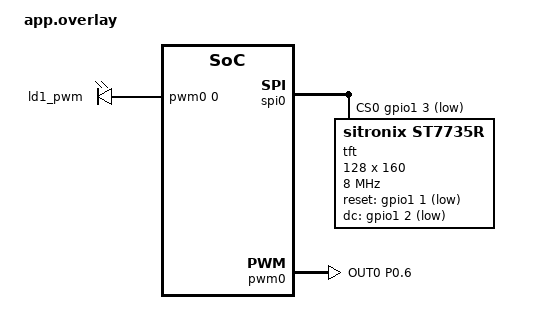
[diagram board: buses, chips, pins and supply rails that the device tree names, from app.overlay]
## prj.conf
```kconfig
#####################################
# prj.conf — Up to 11×Tx → 1×Rx (USB-CDC, Central-only)
#####################################

# ── Console 全关（USB CDC 只当“数据口”，不当 console） ──
CONFIG_SERIAL=y
CONFIG_CONSOLE=n
CONFIG_UART_CONSOLE=n
CONFIG_RTT_CONSOLE=n
CONFIG_BOOT_BANNER=n
CONFIG_SHELL=n
CONFIG_PRINTK=n

# ── USB CDC（非 console，用作数据输出到 PC） ────────────
CONFIG_USB_DEVICE_STACK=y
CONFIG_USB_DEVICE_INITIALIZE_AT_BOOT=y
CONFIG_USB_CDC_ACM=y
CONFIG_UART_LINE_CTRL=y

CONFIG_USB_DEVICE_PRODUCT="Dongle BioSpur"
CONFIG_USB_DEVICE_MANUFACTURER="BioSpur"
CONFIG_USB_DEVICE_VID=0x1915
CONFIG_USB_DEVICE_PID=0x520F

# ── 蓝牙基础配置（Central-only，多连接 NUS 客户端） ────────
CONFIG_BT=y
CONFIG_BT_CENTRAL=y
CONFIG_BT_PERIPHERAL=n

# ★ 安全 / 配对（普通加密，无强制 MITM）★
CONFIG_BT_SMP=y
CONFIG_BT_BONDABLE=n
CONFIG_BT_SIGNING=n
CONFIG_BT_PRIVACY=n

# Settings，用来存 bond / 白名单
CONFIG_SETTINGS=y
CONFIG_BT_SETTINGS=y
CONFIG_FLASH=y
CONFIG_FLASH_PAGE_LAYOUT=y
CONFIG_FLASH_MAP=y

# Settings storage backend
CONFIG_NVS=y
CONFIG_SETTINGS_NVS=y

# ── NUS 客户端（Central 读 TX 的 NUS）─────────────────────
CONFIG_BT_NUS_CLIENT=y
CONFIG_BT_NUS=n

CONFIG_BT_SCAN=y
CONFIG_BT_GATT_CLIENT=y
CONFIG_BT_GATT_SERVICE_CHANGED=y
CONFIG_BT_GATT_DM=y

CONFIG_BT_DEVICE_NAME="BioSpur_Central_2"

CONFIG_BT_PHY_UPDATE=y
CONFIG_BT_CTLR_PHY_2M=y
CONFIG_BT_USER_PHY_UPDATE=y

# ── 连接与缓冲区配置（多连接 + 高吞吐） ──────────────────
CONFIG_BT_MAX_CONN=15
CONFIG_BT_MAX_PAIRED=15

CONFIG_BT_L2CAP_TX_MTU=247
CONFIG_BT_BUF_ACL_TX_SIZE=251
CONFIG_BT_BUF_ACL_RX_SIZE=251

CONFIG_BT_L2CAP_TX_BUF_COUNT=48
CONFIG_BT_BUF_ACL_TX_COUNT=48
CONFIG_BT_BUF_ACL_RX_COUNT=48

CONFIG_BT_BUF_CMD_TX_COUNT=10
CONFIG_BT_BUF_EVT_RX_SIZE=255
CONFIG_BT_BUF_EVT_RX_COUNT=16

# 扫描过滤
CONFIG_BT_SCAN_FILTER_ENABLE=y

# ── 控制器配置（Zephyr Controller） ───────────────────────
CONFIG_BT_LL_SOFTDEVICE=n
CONFIG_BT_CTLR=y

# ── 强制 GATT 需要加密 / 订阅 ─────────────────────────────
CONFIG_BT_GATT_ENFORCE_SUBSCRIPTION=y

# ── 线程栈 / heap ───────────────────────────────────────
CONFIG_MAIN_STACK_SIZE=3072
CONFIG_SYSTEM_WORKQUEUE_STACK_SIZE=6144
CONFIG_HEAP_MEM_POOL_SIZE=65536

# ── Peripherals ─────────────────────────────────────────
CONFIG_GPIO=y
CONFIG_PWM=y
CONFIG_PINCTRL=y
CONFIG_DK_LIBRARY=y
CONFIG_NRFX_UARTE0=n

# ── 日志系统（RTT 后端；CDC 只作数据口） ────────────────
CONFIG_LOG=y
CONFIG_LOG_MODE_DEFERRED=y
CONFIG_LOG_PROCESS_THREAD=y
CONFIG_LOG_PROCESS_THREAD_STACK_SIZE=2048
CONFIG_LOG_DEFAULT_LEVEL=3

CONFIG_USE_SEGGER_RTT=y
CONFIG_LOG_BACKEND_RTT=y
CONFIG_SEGGER_RTT_BUFFER_SIZE_UP=8192
CONFIG_SEGGER_RTT_BUFFER_SIZE_DOWN=64

CONFIG_LOG_BACKEND_UART=n

# ── Reboot（如果 app_cmd.c 用到了 sys_reboot） ───────────
CONFIG_REBOOT=y
```

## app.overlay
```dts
#include <zephyr/dt-bindings/pwm/pwm.h>
#include <zephyr/dt-bindings/pinctrl/nrf-pinctrl.h>

/*
 * Copyright (c) 2023 Nordic Semiconductor ASA
 *
 * SPDX-License-Identifier: LicenseRef-Nordic-5-Clause
 */

/ {
	 chosen {
		 nordic,nus-uart = &uart0;
		 zephyr,display = &tft;
	 };
};


/* ---------- SPI0 ---------- */
&spi0 {
    status = "okay";

    /* 使用 SoC 默认 pinctrl（P0.00 / 0.01 为 SCK / MOSI） */
    pinctrl-0 = <&spi0_default>;
    pinctrl-1 = <&spi0_sleep>;
    pinctrl-names = "default", "sleep";

    /* 片选线改到 P1.03 */
    cs-gpios = <&gpio1 3 GPIO_ACTIVE_LOW>;

    /* TFT 设备节点 */
    tft: st7735r@0 {                 /* 如实际芯片是 ST7789V，可改 compatible */
        compatible = "sitronix,st7735r";
        reg = <0>;
        spi-max-frequency = <8000000>;   /* 8 MHz */

        reset-gpios = <&gpio1 1 GPIO_ACTIVE_LOW>; /* RES=P1.01 */
        dc-gpios    = <&gpio1 2 GPIO_ACTIVE_LOW>; /* RS (DC)=P1.02 */

        width  = <128>;
        height = <160>;
        rgb-order = "rgb565";
    };
};


/* ---------- PWM for LD1 breathing ---------- */
&pinctrl {
    pwm0_default: pwm0_default {
        group1 {
            psels = <NRF_PSEL(PWM_OUT0, 0, 6)>; /* P0.06 (LD1) */
        };
    };

    pwm0_sleep: pwm0_sleep {
        group1 {
            psels = <NRF_PSEL(PWM_OUT0, 0, 6)>;
            low-power-enable;
        };
    };
};

&pwm0 {
    status = "okay";
    pinctrl-0 = <&pwm0_default>;
    pinctrl-1 = <&pwm0_sleep>;
    pinctrl-names = "default", "sleep";
};

/ {
    pwmleds {
        compatible = "pwm-leds";
        ld1_pwm: ld1_pwm {
            pwms = <&pwm0 0 PWM_MSEC(10) PWM_POLARITY_INVERTED>;
        };
    };

    aliases {
        pwm-led0 = &ld1_pwm;
    };
};
```

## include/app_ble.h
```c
#ifndef APP_BLE_H
#define APP_BLE_H

#include <zephyr/kernel.h>
#include <stdint.h>
#include <stdbool.h>

/* Initialize Bluetooth central + NUS clients + bt_scan. */
int app_ble_init(void);

/* Start/stop scanning for TX devices ("eFxxxx" names). */
int app_ble_start_scan(void);
int app_ble_stop_scan(void);

/* Use cached candidates (from last scan) to connect.
 * Connections are created sequentially; GATT discovery for NUS is
 * internally serialized to avoid -EALREADY issues.
 */
int app_ble_connect_whitelist(void);

/* Disconnect all active connections. */
void app_ble_disconnect_all(void);

/* Return number of active connections. */
int app_ble_get_conn_count(void);

/* UWB/IMU control commands over NUS (TSYNC / RSLOT). */
void app_ble_tsync_all(uint64_t host_ms);
void app_ble_rslot(int slot, uint16_t fps, uint16_t phase_ms);

#endif /* APP_BLE_H */
```

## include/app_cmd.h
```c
#ifndef APP_CMD_H
#define APP_CMD_H

#include <stdint.h>
#include <stdbool.h>

/* 启动 CDC 命令解析线程（scan / conn / reboot / TSYNC / RSLOT ...） */
int app_cmd_init(void);


typedef enum {
    APP_UI_STATE_IDLE = 0,
    APP_UI_STATE_SCAN,
    APP_UI_STATE_CONN,
    APP_UI_STATE_START,
} app_ui_state_t;

/* UI indicator hook for command-driven state changes */
void app_ui_set_state(app_ui_state_t state);

/* 来自各个 TX 节点的 NUS 数据（已经按 dev_id 区分）。*/
void app_cmd_on_nus_rx(uint16_t dev_id, const uint8_t *data, uint16_t len);

/* 扫描时发现/更新设备，用于在 USB CDC 上打印扫描列表。*/
void app_cmd_scan_update(uint16_t dev_id,
                         uint8_t filterindex,
                         const char *name,
                         int8_t rssi,
                         bool is_new);

#endif /* APP_CMD_H */
```

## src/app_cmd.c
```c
#include <zephyr/kernel.h>
#include <zephyr/sys/reboot.h>
#include <string.h>
#include <stdio.h>
#include <ctype.h>

#include "cdc_async.h"
#include "app_ble.h"
#include "app_cmd.h"


static void ui_set_state(app_ui_state_t state)
{
    app_ui_set_state(state);
}

K_THREAD_STACK_DEFINE(app_cmd_stack, 1024);
static struct k_thread app_cmd_thread;

/* ========== 小工具：忽略前导空格 + 不区分大小写匹配命令字 ========== */

static const char *skip_spaces(const char *s)
{
    while (*s == ' ' || *s == '\t') {
        s++;
    }
    return s;
}

/* 判断 cmd 是否以 word 开头（大小写不敏感），并且后面是空格或结束
 * 例如：
 *   cmd = "  TSYNC 123", word="tsync" → true，返回 true
 *   cmd = "TSYNCHHH",   word="tsync" → false
 */
static bool cmd_starts_with_word(const char *cmd, const char *word)
{
    cmd = skip_spaces(cmd);

    while (*word) {
        char c1 = *cmd;
        char c2 = *word;

        if (c1 == '\0') {
            return false;
        }
        /* 转小写比较 */
        if (tolower((unsigned char)c1) != tolower((unsigned char)c2)) {
            return false;
        }
        cmd++;
        word++;
    }

    /* word 比完了，cmd 当前字符必须是空白或 '\0' 才算匹配完整单词 */
    if (*cmd == '\0' || *cmd == ' ' || *cmd == '\t') {
        return true;
    }
    return false;
}

/* 从一行命令中取出命令字后面的“尾部参数串”，自动跳过命令自身和后面的空格。
 * 例如：
 *   line = "  TSYNC  12345"
 *   word = "tsync"
 *   返回指向 "12345"
 */
static const char *get_args_after_word(const char *line, const char *word)
{
    line = skip_spaces(line);

    /* 先跳过命令字本身 */
    while (*word && *line) {
        line++;
        word++;
    }

    /* 再跳过紧跟着的空格 */
    return skip_spaces(line);
}

/* ========== 命令处理 ========== */

static void handle_cmd(const char *cmd_in)
{
    const char *cmd = skip_spaces(cmd_in);

    if (*cmd == '\0') {
        return;
    }

    /* ---- scan ---- */
    if (cmd_starts_with_word(cmd, "scan")) {
        cdc_printf("CMD: scan\r\n");
        app_ble_start_scan();
        ui_set_state(APP_UI_STATE_SCAN);
        return;
    }

    /* ---- conn ---- */
    if (cmd_starts_with_word(cmd, "conn")) {
        cdc_printf("CMD: conn\r\n");
        app_ble_connect_whitelist();
        ui_set_state(APP_UI_STATE_CONN);
        return;
    }

    /* ---- reboot ---- */
    if (cmd_starts_with_word(cmd, "reboot")) {
        cdc_printf("CMD: reboot -> sys_reboot\r\n");
        sys_reboot(SYS_REBOOT_COLD);
        return;
    }

    /* ---- stream_on / stream_off ---- */
    if (cmd_starts_with_word(cmd, "stream_on")) {
        cdc_printf("CMD: stream_on\r\n");
        cdc_async_enable(true);
        ui_set_state(APP_UI_STATE_START);
        return;
    }

    if (cmd_starts_with_word(cmd, "stream_off")) {
        cdc_printf("CMD: stream_off\r\n");
        cdc_async_enable(false);
        ui_set_state(app_ble_get_conn_count() > 0 ? APP_UI_STATE_CONN : APP_UI_STATE_SCAN);
        return;
    }

    /* ---- disc / disconnect ---- */
    if (cmd_starts_with_word(cmd, "disc") ||
        cmd_starts_with_word(cmd, "disconnect")) {
        cdc_printf("CMD: disconnect all\r\n");
        app_ble_disconnect_all();
        ui_set_state(APP_UI_STATE_SCAN);
        return;
    }

    /* ---- TSYNC / tsync ----
     *
     * 支持两种用法：
     *   tsync            -> 用 RX 的 k_uptime_get() 做 host_ms
     *   tsync <host_ms>  -> 用 PC 传过来的 host_ms（你现在用的）
     */
    if (cmd_starts_with_word(cmd, "tsync")) {
        const char *args = get_args_after_word(cmd, "tsync");
        uint64_t host_ms = 0;

        if (*args == '\0') {
            /* 无参数：用 RX 自己的 uptime 作 host_ms */
            host_ms = (uint64_t)k_uptime_get();
            cdc_printf("CMD: TSYNC with local uptime=%llu ms\r\n",
                       (unsigned long long)host_ms);
        } else {
            /* 有参数：解析十进制 host_ms */
            unsigned long long tmp = 0ULL;
            int n = sscanf(args, "%llu", &tmp);
            if (n != 1) {
                cdc_printf("CMD TSYNC parse error. Usage:\r\n");
                cdc_printf("  TSYNC <host_ms>\r\n");
                return;
            }
            host_ms = (uint64_t)tmp;
            cdc_printf("CMD: TSYNC host_ms=%llu\r\n",
                       (unsigned long long)host_ms);
        }

        app_ble_tsync_all(host_ms);
        return;
    }

    /* ---- RSLOT / rslot <slot> <fps> <phase_ms> ---- */
    if (cmd_starts_with_word(cmd, "rslot")) {
        const char *args = get_args_after_word(cmd, "rslot");
        int slot = 0;
        unsigned int fps = 0;
        unsigned int phase_ms = 0;

        int n = sscanf(args, "%d %u %u", &slot, &fps, &phase_ms);
        if (n == 3) {
            cdc_printf("CMD: RSLOT slot=%d fps=%u phase=%u\r\n",
                       slot, fps, phase_ms);
            app_ble_rslot(slot, (uint16_t)fps, (uint16_t)phase_ms);
        } else {
            cdc_printf("CMD RSLOT parse error. Usage:\r\n");
            cdc_printf("  RSLOT <slot> <fps> <phase_ms>\r\n");
        }
        return;
    }

    /* ---- 未知命令 ---- */
    cdc_printf("CMD: unknown '%s'\r\n", cmd_in);
}

/* ========== CDC 读取线程：按“整行”处理命令 ========== */

static void app_cmd_thread_fn(void *a, void *b, void *c)
{
    ARG_UNUSED(a);
    ARG_UNUSED(b);
    ARG_UNUSED(c);

    char buf[64];
    int  pos = 0;

    cdc_printf("app_cmd thread started. Type commands: scan/conn/disc/TSYNC/RSLOT...\r\n");

    while (1) {
        uint8_t ch;
        int ret = cdc_async_poll_in(&ch);
        if (ret == 0) {
            if (ch == '\r' || ch == '\n') {
                if (pos > 0) {
                    buf[pos] = '\0';
                    handle_cmd(buf);
                    pos = 0;
                }
                continue;
            }

            if (pos < (int)sizeof(buf) - 1) {
                buf[pos++] = (char)ch;
                buf[pos]   = '\0';
            } else {
                /* 太长了，直接丢掉这一行，避免一直占满缓冲 */
                pos = 0;
                cdc_printf("CMD: line too long, dropped.\r\n");
            }
        } else {
            k_msleep(10);
        }
    }
}

int app_cmd_init(void)
{
    k_thread_create(&app_cmd_thread,
                    app_cmd_stack,
                    K_THREAD_STACK_SIZEOF(app_cmd_stack),
                    app_cmd_thread_fn,
                    NULL, NULL, NULL,
                    5, 0, K_NO_WAIT);

    k_thread_name_set(&app_cmd_thread, "app_cmd");
    return 0;
}
```

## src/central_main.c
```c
#include <zephyr/kernel.h>
#include <zephyr/sys/printk.h>
#include <zephyr/drivers/gpio.h>
#include <zephyr/drivers/pwm.h>
#include <zephyr/sys/reboot.h>

#include "cdc_async.h"
#include "app_ble.h"
#include "app_cmd.h"


#define GPIO0_NODE DT_NODELABEL(gpio0)
#define GPIO1_NODE DT_NODELABEL(gpio1)

#define LD1_PIN       6   /* P0.06 */
#define LD2_R_PIN     8   /* P0.08 */
#define LD2_G_PIN     9   /* P1.09 */
#define LD2_B_PIN     12  /* P0.12 */

static const struct device *gpio0;
static const struct device *gpio1;


static const struct pwm_dt_spec ld1_pwm = PWM_DT_SPEC_GET(DT_ALIAS(pwm_led0));
static bool ld1_pwm_ready;

static bool ui_armed;
static app_ui_state_t ui_state = APP_UI_STATE_IDLE;

static int leds_init(void)
{
    gpio0 = DEVICE_DT_GET(GPIO0_NODE);
    gpio1 = DEVICE_DT_GET(GPIO1_NODE);
    if (!device_is_ready(gpio0) || !device_is_ready(gpio1)) {
        return -ENODEV;
    }

    if (!device_is_ready(ld1_pwm.dev)) {
        ld1_pwm_ready = false;
    } else {
        ld1_pwm_ready = true;
        (void)pwm_set_dt(&ld1_pwm, ld1_pwm.period, 0);
    }

    int err = 0;
    err |= gpio_pin_configure(gpio0, LD2_R_PIN, GPIO_OUTPUT_HIGH);
    err |= gpio_pin_configure(gpio1, LD2_G_PIN, GPIO_OUTPUT_HIGH);
    err |= gpio_pin_configure(gpio0, LD2_B_PIN, GPIO_OUTPUT_HIGH);
    if (!ld1_pwm_ready) {
        err |= gpio_pin_configure(gpio0, LD1_PIN, GPIO_OUTPUT_HIGH);
    }
    return err;
}

static inline void led_set(const struct device *gpio, uint32_t pin, bool on)
{
    /* Active-low LED */
    gpio_pin_set(gpio, pin, on ? 0 : 1);
}

void app_ui_set_state(app_ui_state_t state)
{
    ui_state = state;
    if (!ui_armed) {
        ui_armed = true;
        if (ld1_pwm_ready) {
            (void)pwm_set_dt(&ld1_pwm, ld1_pwm.period, 0);
        } else {
            led_set(gpio0, LD1_PIN, false);
        }
    }
}

static void ui_update_leds(uint32_t now_ms)
{
    if (!ui_armed) {
        /* Breathing effect on LD1 before any command arrives */
        const uint32_t breathe_period_ms = 2000;
        uint32_t phase = now_ms % breathe_period_ms;
        uint32_t tri = (phase < (breathe_period_ms / 2)) ?
                       phase : (breathe_period_ms - phase);
        uint32_t level = (tri * 1000U) / (breathe_period_ms / 2);

        if (ld1_pwm_ready) {
            uint64_t pulse = (uint64_t)ld1_pwm.period * level / 1000U;
            (void)pwm_set_dt(&ld1_pwm, ld1_pwm.period, (uint32_t)pulse);
        } else {
            led_set(gpio0, LD1_PIN, level > 10U);
        }

        led_set(gpio0, LD2_R_PIN, false);
        led_set(gpio1, LD2_G_PIN, false);
        led_set(gpio0, LD2_B_PIN, false);
        return;
    }

    const uint32_t slow_half_ms = 500;  /* 1 Hz blink */
    const uint32_t fast_half_ms = 125;  /* 4 Hz blink */

    bool slow_on = ((now_ms / slow_half_ms) % 2U) == 0U;
    bool fast_on = ((now_ms / fast_half_ms) % 2U) == 0U;

    /* Default: all off */
    led_set(gpio0, LD2_R_PIN, false);
    led_set(gpio1, LD2_G_PIN, false);
    led_set(gpio0, LD2_B_PIN, false);

    switch (ui_state) {
    case APP_UI_STATE_SCAN:
        led_set(gpio0, LD2_R_PIN, slow_on);
        break;
    case APP_UI_STATE_CONN:
        led_set(gpio0, LD2_B_PIN, slow_on);
        break;
    case APP_UI_STATE_START:
        led_set(gpio1, LD2_G_PIN, fast_on);
        break;
    default:
        break;
    }
}


#define SW1_GPIO_NODE DT_NODELABEL(gpio1)
#define SW1_PIN       6

static const struct device *sw1_gpio;
static bool sw1_ready;

static int sw1_init(void)
{
    sw1_gpio = DEVICE_DT_GET(SW1_GPIO_NODE);
    if (!device_is_ready(sw1_gpio)) {
        return -ENODEV;
    }

    int err = gpio_pin_configure(sw1_gpio, SW1_PIN, GPIO_INPUT | GPIO_PULL_UP);
    if (err) {
        return err;
    }

    sw1_ready = true;
    return 0;
}

static bool sw1_pressed_stable(void)
{
    if (!sw1_ready) {
        return false;
    }

    int v = gpio_pin_get(sw1_gpio, SW1_PIN);
    if (v != 0) {
        return false;
    }

    k_sleep(K_MSEC(30));
    return gpio_pin_get(sw1_gpio, SW1_PIN) == 0;
}

int main(void)
{
    int err;

    err = cdc_async_init();
    if (err) {
        /* 警告一下，但不要退出，让后面的 BLE / 按钮照样跑 */
        printk("cdc_async_init failed: %d\n", err);
    }

    cdc_printf("\r\n=== BioSpur Central Multi-NUS (buttons + CMD) ===\r\n");

    err = leds_init();
    if (err) {
        cdc_printf("leds_init err %d\r\n", err);
    }

    err = sw1_init();
    if (err) {
        cdc_printf("SW1 init err %d\r\n", err);
    }

    err = app_ble_init();
    if (err) {
        cdc_printf("app_ble_init err %d\r\n", err);
    }

    app_cmd_init();

    cdc_printf("Boot OK. SW1=reboot (P1.06).\r\n");

    while (1) {
        uint32_t now_ms = (uint32_t)k_uptime_get();
        ui_update_leds(now_ms);

        if (sw1_pressed_stable()) {
            cdc_printf("SW1: reboot\r\n");
            k_sleep(K_MSEC(10));
            sys_reboot(SYS_REBOOT_COLD);
        }

        k_sleep(K_MSEC(10));
    }

    return 0;
}
```
